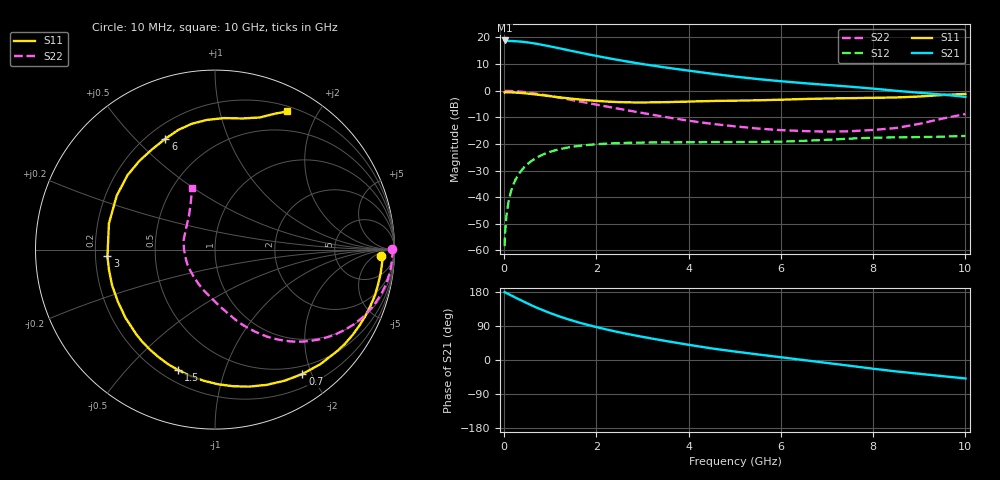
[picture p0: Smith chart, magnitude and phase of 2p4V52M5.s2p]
! (c) 2009  Infineon Technologies AG, Munich
! Infineon Technologies  Discrete & RF Semiconductors
! BFP420
! VCE =  4.5 V,  IC =  2.5 mA
! Common Emitter S-Parameters:  Nov 2009
# GHz  S  MA  R  50
!  f  S11  S21  S12  S22
! GHz  MAG  ANG  MAG  ANG  MAG  ANG  MAG  ANG
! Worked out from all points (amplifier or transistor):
!   46 points, 10 MHz to 10 GHz, reference 50 ohm
!   highest |S21| = 18.9 dB at 10 MHz (marker M1)
!   |S21| within 3 dB of that: start of sweep to 1.21 GHz
!   unconditionally stable (mu >= 1): start of sweep to 10.25 MHz; 3.748 GHz to end of sweep
!   at 300 MHz: K = 0.09, MSG = 25.2 dB, |S12| = -31.8 dB
!   at 1.7 GHz: K = 0.38, MSG = 17.3 dB, |S12| = -20.6 dB
!   at 10 GHz: K = 1.19, MAG = 4.7 dB, |S12| = -17.0 dB
!   lowest NFmin = 0.55 dB at 900 MHz
!   S11 on the Smith chart (normalised r, x): 10 MHz: 21, -10; 700 MHz: 0.38, -1.86; 1.5 GHz: 0.27, -0.71; 3 GHz: 0.25, -0.03; 6 GHz: 0.27, +0.61; 10 GHz: 0.26, +1.62
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0.01  0.9263 -2.2  8.78 179.2  0.0012 19.1  0.9883 0.2
0.02  0.9354 -1.5  8.543 178.8  0.0021 56.9  0.9882 -0.8
0.05  0.9347 -3.9  8.566 176.7  0.0045 73.3  0.9886 -2.0
0.1  0.9324 -8.1  8.6 173.7  0.0087 77.9  0.9873 -4.3
0.2  0.9269 -16.0  8.548 167.6  0.0174 77.9  0.9796 -8.5
0.45  0.8944 -35.9  8.185 152.6  0.0377 68.8  0.9404 -18.8
0.6  0.8672 -47.4  7.856 143.9  0.0485 62.9  0.9056 -24.6
0.7  0.8471 -54.9  7.613 138.5  0.055 59.2  0.8793 -28.2
1  0.7868 -76.0  6.787 123.7  0.0712 49.1  0.7951 -37.8
1.2  0.7495 -89.0  6.242 114.8  0.0794 43.3  0.7385 -43.5
1.5  0.7022 -106.9  5.506 103.3  0.0889 35.8  0.6596 -50.8
1.7  0.6758 -118.0  5.076 96.3  0.0935 31.5  0.6117 -55.0
2.2  0.6272 -142.6  4.17 81.1  0.1012 22.6  0.5087 -64.0
2.6  0.607 -160.7  3.614 70.5  0.1045 16.9  0.4388 -70.6
3  0.6004 -176.4  3.166 61.1  0.1061 12.4  0.381 -76.4
3.5  0.6087 166.1  2.727 50.2  0.1069 7.9  0.3199 -84.7
4.5  0.64 139.6  2.084 30.6  0.1081 1.8  0.2385 -104.4
5.5  0.6597 122.0  1.653 14.7  0.1089 -1.6  0.1946 -126.2
6  0.6768 114.1  1.505 7.3  0.1104 -2.3  0.1814 -139.1
7  0.7128 100.5  1.282 -7.8  0.1195 -4.6  0.1699 -166.1
8.5  0.7463 78.2  0.994 -30.1  0.1327 -13.6  0.1991 144.4
10  0.8687 62.4  0.766 -48.7  0.1413 -19.5  0.365 110.5
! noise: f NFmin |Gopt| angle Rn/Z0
0.9  0.55  0.41  33  0.2
1.8  1.02  0.24  78  0.16
2.4  1.11  0.26  103  0.15
3  1.28  0.27  140  0.11
4  1.5  0.34  -163  0.1
5  1.85  0.4  -130  0.26
6  2.56  0.5  -109  0.35
